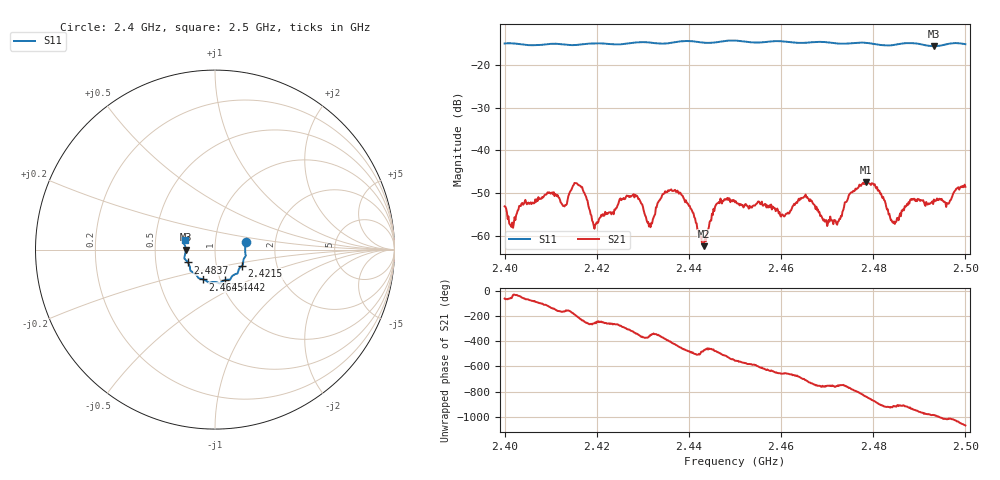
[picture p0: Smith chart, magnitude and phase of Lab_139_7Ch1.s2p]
# Hz S RI R 50
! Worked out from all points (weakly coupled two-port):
!   601 points, 2.4 GHz to 2.5 GHz, reference 50 ohm
!   highest |S21| = -47.42 dB at 2.4785 GHz (marker M1); lowest = -62.3 dB at 2.4432 GHz (marker M2)
!   lowest |S11| = -15.7 dB at 2.4932 GHz (marker M3), VSWR 1.39, Z = 35.9 - j0.0424 ohm
!   |S11| at or under -10 dB: start of sweep to end of sweep
!   S12 and S22 are empty: the file has one direction only
!   S11 on the Smith chart (normalised r, x): 2.4 GHz: 1.41, +0.12; 2.4215 GHz: 1.33, -0.25; 2.4442 GHz: 1.05, -0.37; 2.4645 GHz: 0.83, -0.29; 2.4837 GHz: 0.73, -0.11; 2.5 GHz: 0.71, +0.08
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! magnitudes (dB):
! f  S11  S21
! 2.4 GHz  -15.1  -53.0
! 2.4015 GHz  -15.0  -57.8
! 2.4167 GHz  -15.3  -48.6
! 2.4195 GHz  -15.1  -58.2
! 2.4215 GHz  -15.1  -55.2
! 2.4283 GHz  -14.9  -50.3
! 2.4315 GHz  -14.9  -57.2
! 2.4333 GHz  -15.1  -52.0
! 2.438 GHz  -14.6  -49.8
! 2.4432 GHz  -14.9  -62.3
! 2.4442 GHz  -15.0  -58.4
! 2.4463 GHz  -14.7  -52.2
! 2.45 GHz  -14.4  -52.1
! 2.4603 GHz  -14.6  -54.9
! 2.4645 GHz  -15.0  -51.0
! 2.4667 GHz  -14.8  -51.7
! 2.4723 GHz  -15.1  -56.6
! 2.4785 GHz  -14.9  -47.4
! 2.4833 GHz  -15.6  -54.9
! 2.4837 GHz  -15.5  -55.6
! 2.4932 GHz  -15.7  -51.4
! 2.5 GHz  -15.2  -48.5
